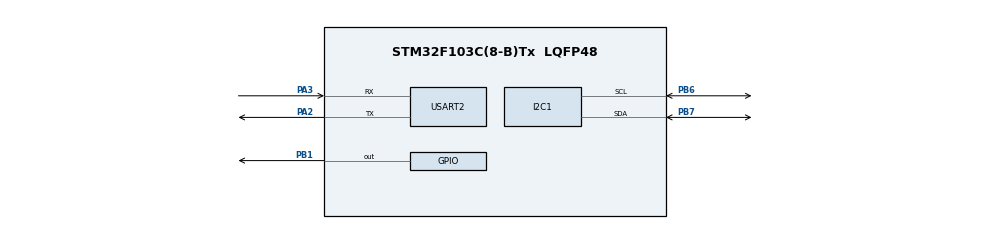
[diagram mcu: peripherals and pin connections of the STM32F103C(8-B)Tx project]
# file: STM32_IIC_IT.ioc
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Mcu.Family=STM32F1
Mcu.Name=STM32F103C(8-B)Tx
Mcu.Package=LQFP48
NVIC.I2C1_ER_IRQn=true\:0\:0\:false\:false\:true\:true\:true\:true
NVIC.I2C1_EV_IRQn=true\:0\:0\:false\:false\:true\:true\:true\:true
NVIC.PriorityGroup=NVIC_PRIORITYGROUP_4
PA13.Mode=Serial_Wire
PA13.Signal=SYS_JTMS-SWDIO
PA14.Mode=Serial_Wire
PA14.Signal=SYS_JTCK-SWCLK
PA2.Mode=Asynchronous
PA2.Signal=USART2_TX
PA3.Mode=Asynchronous
PA3.Signal=USART2_RX
PB1.Signal=GPIO_Output
PB6.Mode=I2C
PB6.Signal=I2C1_SCL
PB7.Mode=I2C
PB7.Signal=I2C1_SDA
ProjectManager.HeapSize=0x200
ProjectManager.StackSize=0x400
ProjectManager.TargetToolchain=STM32CubeIDE
RCC.APB1Freq_Value=8000000
RCC.APB2Freq_Value=8000000
USART2.VirtualMode=VM_ASYNC
board=custom

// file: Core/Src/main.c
/* USER CODE BEGIN Header */
/**
 ******************************************************************************
 * @file           : main.c
 * @brief          : Main program body
 ******************************************************************************
 * @attention
 *
 * Copyright (c) 2022 STMicroelectronics.
 * All rights reserved.
 *
 * This software is licensed under terms that can be found in the LICENSE file
 * in the root directory of this software component.
 * If no LICENSE file comes with this software, it is provided AS-IS.
 *
 ******************************************************************************
 */
/* USER CODE END Header */
#include "main.h"
#include "i2c.h"
#include "usart.h"
#include "gpio.h"

/* USER CODE BEGIN Includes */
#include "aht20.h"
#include "stdio.h"
#include "string.h"
/* USER CODE END Includes */

void SystemClock_Config(void);

int main(void)
{

  /* MCU Configuration--------------------------------------------------------*/

  /* Reset of all peripherals, Initializes the Flash interface and the Systick. */
  HAL_Init();

  /* Configure the system clock */
  SystemClock_Config();

  /* Initialize all configured peripherals */
  MX_GPIO_Init();
  MX_I2C1_Init();
  MX_USART2_UART_Init();
  /* USER CODE BEGIN 2 */
  AHT20_Init();                // 初始化 AHT20
  float temperature, humidity; // 温度和湿度变量
  char message[50];            // 要发送的字符串

  /* USER CODE END 2 */

  /* Infinite loop */
  /* USER CODE BEGIN WHILE */

  while (1)
  {
      switch (AHT20_STATE) {
          case FREE:
              AHT20_Measure();
              break;
          case MEASURE_DONE:
              AHT20_Get(&temperature, &humidity);
              break;
          case READY: {
              sprintf(message, "温度: %.1f ℃, 湿度: %.1f %%\r\n", temperature, humidity);
              HAL_UART_Transmit(&huart2, (uint8_t *) message, strlen(message), HAL_MAX_DELAY);
              HAL_Delay(1000);
              AHT20_STATE = FREE;
              break;
          }
          default:
              break;
      }

      /* USER CODE END WHILE */

  }
}

void SystemClock_Config(void)
{
  RCC_OscInitTypeDef RCC_OscInitStruct = {0};
  RCC_ClkInitTypeDef RCC_ClkInitStruct = {0};

  /** Initializes the RCC Oscillators according to the specified parameters
  * in the RCC_OscInitTypeDef structure.
  */
  RCC_OscInitStruct.OscillatorType = RCC_OSCILLATORTYPE_HSI;
  RCC_OscInitStruct.HSIState = RCC_HSI_ON;
  RCC_OscInitStruct.HSICalibrationValue = RCC_HSICALIBRATION_DEFAULT;
  RCC_OscInitStruct.PLL.PLLState = RCC_PLL_NONE;
  if (HAL_RCC_OscConfig(&RCC_OscInitStruct) != HAL_OK)
  {
    Error_Handler();
  }

  /** Initializes the CPU, AHB and APB buses clocks
  */
  RCC_ClkInitStruct.ClockType = RCC_CLOCKTYPE_HCLK|RCC_CLOCKTYPE_SYSCLK
                              |RCC_CLOCKTYPE_PCLK1|RCC_CLOCKTYPE_PCLK2;
  RCC_ClkInitStruct.SYSCLKSource = RCC_SYSCLKSOURCE_HSI;
  RCC_ClkInitStruct.AHBCLKDivider = RCC_SYSCLK_DIV1;
  RCC_ClkInitStruct.APB1CLKDivider = RCC_HCLK_DIV1;
  RCC_ClkInitStruct.APB2CLKDivider = RCC_HCLK_DIV1;

  if (HAL_RCC_ClockConfig(&RCC_ClkInitStruct, FLASH_LATENCY_0) != HAL_OK)
  {
    Error_Handler();
  }
}

void Error_Handler(void)
{
  __disable_irq();
  while (1)
  {
  }
}
